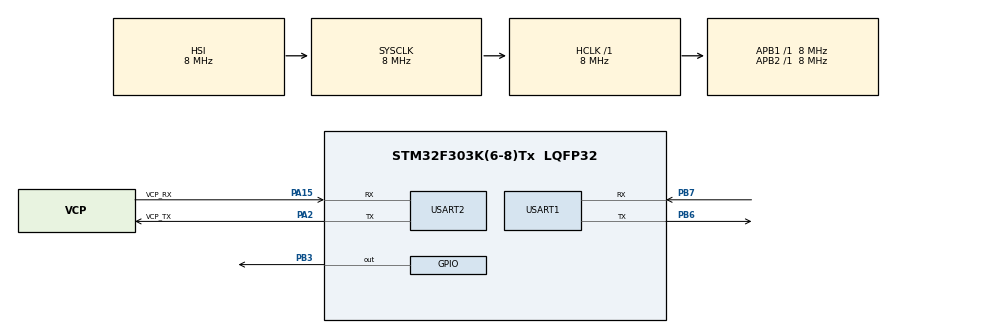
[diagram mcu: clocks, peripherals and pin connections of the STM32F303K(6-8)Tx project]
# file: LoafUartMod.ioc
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Dma.Request0=USART1_RX
Dma.USART1_RX.0.Direction=DMA_PERIPH_TO_MEMORY
Dma.USART1_RX.0.Instance=DMA1_Channel5
Dma.USART1_RX.0.MemDataAlignment=DMA_MDATAALIGN_BYTE
Dma.USART1_RX.0.MemInc=DMA_MINC_ENABLE
Dma.USART1_RX.0.Mode=DMA_NORMAL
Dma.USART1_RX.0.PeriphDataAlignment=DMA_PDATAALIGN_BYTE
Dma.USART1_RX.0.PeriphInc=DMA_PINC_DISABLE
Dma.USART1_RX.0.Priority=DMA_PRIORITY_LOW
Mcu.Family=STM32F3
Mcu.Name=STM32F303K(6-8)Tx
Mcu.Package=LQFP32
NVIC.DMA1_Channel5_IRQn=true\:0\:0\:false\:false\:true\:false\:true\:true
NVIC.PriorityGroup=NVIC_PRIORITYGROUP_4
PA13.GPIO_Label=SWDIO
PA13.Mode=Serial_Wire
PA13.Signal=SYS_JTMS-SWDIO
PA14.GPIO_Label=SWCLK
PA14.Mode=Serial_Wire
PA14.Signal=SYS_JTCK-SWCLK
PA15.GPIO_Label=VCP_RX
PA15.Mode=Asynchronous
PA15.Signal=USART2_RX
PA2.GPIO_Label=VCP_TX
PA2.Mode=Asynchronous
PA2.Signal=USART2_TX
PB3.Signal=GPIO_Output
PB6.Mode=Asynchronous
PB6.Signal=USART1_TX
PB7.Mode=Asynchronous
PB7.Signal=USART1_RX
PF0\ /\ OSC_IN.GPIO_Label=MCO
PF0\ /\ OSC_IN.Mode=HSE-External-Clock-Source
PF0\ /\ OSC_IN.Signal=RCC_OSC_IN
ProjectManager.HeapSize=0x200
ProjectManager.StackSize=0x400
ProjectManager.TargetToolchain=STM32CubeIDE
RCC.AHBFreq_Value=8000000
RCC.APB1Freq_Value=8000000
RCC.APB2Freq_Value=8000000
RCC.CortexFreq_Value=8000000
RCC.HSE_VALUE=8000000
RCC.HSI_VALUE=8000000
RCC.SYSCLKFreq_VALUE=8000000
USART1.SwapParam=ADVFEATURE_SWAP_ENABLE
USART1.VirtualMode-Asynchronous=VM_ASYNC
USART2.VirtualMode-Asynchronous=VM_ASYNC
board=NUCLEO-F303K8

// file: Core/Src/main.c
/* USER CODE BEGIN Header */
/**
  ******************************************************************************
  * @file           : main.c
  * @brief          : Main program body
  ******************************************************************************
  * @attention
  *
  * Copyright (c) 2026 STMicroelectronics.
  * All rights reserved.
  *
  * This software is licensed under terms that can be found in the LICENSE file
  * in the root directory of this software component.
  * If no LICENSE file comes with this software, it is provided AS-IS.
  *
  ******************************************************************************
  */
/* USER CODE END Header */
#include "main.h"

/* USER CODE BEGIN Includes */
#include <string.h>
#include <stdbool.h>
#include <stdio.h>
/* USER CODE END Includes */

UART_HandleTypeDef huart1;
UART_HandleTypeDef huart2;
DMA_HandleTypeDef hdma_usart1_rx;

/* USER CODE BEGIN PV */
#define MY_SLOT_ID 0x01
#define RX_BUFFER_SIZE 1024
char rxBuffer[RX_BUFFER_SIZE];

typedef enum {
  SENSE = 0X01,
  ACTUATE = 0X02,
  OPTICS = 0X03,
  POWER = 0X04,
} SliceID;
SliceID activeSlice = SENSE;

const int POLL_CYCLE_COOLDOWN = 1000; // Time in milliseconds between each poll cycle to prevent spamming the loaf with requests
const int EXPORT_CYCLE_COOLDOWN = 3000; // Time in milliseconds between each export cycle to prevent spamming the loaf with exports

double S_temperature = 0.0;

typedef struct {
  SliceID owner;
  char varName[32];
  double valueNum;
  char valueStr[32];
  int tick;
} ImportedVariable;
ImportedVariable importedVariables[32] = {0}; // Array to hold imported variables from slices, with a max of 32 variables for simplicity
/* USER CODE END PV */

void SystemClock_Config(void);
static void MX_GPIO_Init(void);
static void MX_DMA_Init(void);
static void MX_USART1_UART_Init(void);
static void MX_USART2_UART_Init(void);

/* USER CODE BEGIN 0 */
bool processCommand(const char* command)
{
  double value = 0.0;
  char varName[32] = {0};
  char valueStr[32] = {0};
  bool isString = false;

  if (sscanf(command, "%[^:]:\"%[^\"]\"", &varName, &valueStr) == 2) // Check for string value
  {
	  isString = true;
  }
  else if (sscanf(command, "%[^:]:%lf", &varName, &value) == 2) // Check for numeric value
  {
	  isString = false;
  }

  for (int i = 0; i < 32; i++)
  {
      if (importedVariables[i].owner == 0) // Empty slot
      {
          importedVariables[i].owner = activeSlice;
          strncpy(importedVariables[i].varName, varName, sizeof(importedVariables[i].varName) - 1);
          importedVariables[i].valueNum = value;
          strncpy(importedVariables[i].valueStr, valueStr, sizeof(importedVariables[i].valueStr) - 1);
          importedVariables[i].tick = HAL_GetTick();
          break;
      }
      else if (strcmp(importedVariables[i].varName, varName) == 0) // Update existing variable
      {
          importedVariables[i].valueNum = value;
          strncpy(importedVariables[i].valueStr, valueStr, sizeof(importedVariables[i].valueStr) - 1);
          importedVariables[i].tick = HAL_GetTick();
          break;
      }
  }

  // You can add more handling for string values here
  // For demonstration, toggle LED and print info (if printf available)
  HAL_GPIO_TogglePin(GPIOB, GPIO_PIN_3); // Toggle an LED to indicate command processing
  // Debug print (optional):
  // printf("Var: %s, Value: %f, Str: %s, isString: %d\n", varName, value, valueStr, isString);
  return true;
}

void parseUARTBuffer(char *buffer, size_t len)
{
  char cmd[RX_BUFFER_SIZE];
  size_t cmdIndex = 0;
  bool inCommand = false;

  for (size_t i = 0; i < len; i++)
  {
      char c = buffer[i];

      if (c == '>')
      {
          // If we were already building a command, finalize it
          if (inCommand && cmdIndex > 0)
          {
              cmd[cmdIndex] = '\0';
              processCommand(cmd);
              cmdIndex = 0;
          }

          // Start a new command
          inCommand = true;
          buffer[i] = '\0'; // Clear processed command
      }
      else if (c == '\n')
      {
          // End of packet — flush any active command
          if (inCommand && cmdIndex > 0)
          {
              cmd[cmdIndex] = '\0';
              processCommand(cmd);
          }

          // Reset state
          inCommand = false;
          cmdIndex = 0;
          buffer[i] = '\0'; // Clear processed command
      }
      else if (inCommand)
      {
          // Accumulate command characters safely
          if (cmdIndex < (RX_BUFFER_SIZE - 1))
          {
              cmd[cmdIndex++] = c;
              buffer[i] = '\0'; // Clear processed command
          }
          else
          {
              // Overflow protection: discard oversized command
              cmdIndex = 0;
              inCommand = false;
          }
      }
  }
}

void HAL_UART_RxCpltCallback(UART_HandleTypeDef *huart) {
  if (huart->Instance == USART1) {
      // Process the received data in rxBuffer
      // Restart DMA reception
      HAL_UART_Receive_DMA(&huart1, (uint8_t *)rxBuffer, RX_BUFFER_SIZE);
  }
}

void requestFromSlice(uint8_t sliceID)
{
  uint8_t rqstPacket[] = {0x99, sliceID}; // First byte is 0x99 to indicate a request, second byte is the slice ID
  activeSlice = sliceID;
  HAL_UART_Transmit(&huart1, (uint8_t *)rqstPacket, sizeof(rqstPacket), 1000);
  HAL_Delay(100); // Short delay to allow slice time to respond before sending another request
}
/* USER CODE END 0 */

int main(void)
{

  /* MCU Configuration--------------------------------------------------------*/

  /* Reset of all peripherals, Initializes the Flash interface and the Systick. */
  HAL_Init();

  /* Configure the system clock */
  SystemClock_Config();

  /* Initialize all configured peripherals */
  MX_GPIO_Init();
  MX_DMA_Init();
  MX_USART1_UART_Init();
  MX_USART2_UART_Init();
  /* USER CODE BEGIN 2 */
  HAL_UART_Receive_DMA(&huart1, (uint8_t *)rxBuffer, RX_BUFFER_SIZE);

  int lastPollCycle = 0;
  int lastExportCycle = 0;
  /* USER CODE END 2 */

  /* Infinite loop */
  /* USER CODE BEGIN WHILE */
  while (1)
  {

    if (HAL_GetTick() - lastPollCycle > POLL_CYCLE_COOLDOWN)
    {
        lastPollCycle = HAL_GetTick();
        requestFromSlice(SENSE);
        requestFromSlice(ACTUATE);
        requestFromSlice(OPTICS);
        requestFromSlice(POWER);
    }

    if (HAL_GetTick() - lastExportCycle > EXPORT_CYCLE_COOLDOWN)
    {
        lastExportCycle = HAL_GetTick();
        for (int i = 0; i < 32; i++)
        {
          if (importedVariables[i].owner != 0) // If slot is occupied
          {
            char exportPacket[64];
            if (importedVariables[i].valueStr[0] != '\0') {
              // Export as string
              snprintf(exportPacket, sizeof(exportPacket), ">%s:\"%s\"\n", importedVariables[i].varName, importedVariables[i].valueStr);
            } else {
              // Export as number
              snprintf(exportPacket, sizeof(exportPacket), ">%s:%.2f\n", importedVariables[i].varName, importedVariables[i].valueNum);
            }
            HAL_UART_Transmit(&huart2, (uint8_t *)exportPacket, strlen(exportPacket), HAL_MAX_DELAY);
            HAL_Delay(1);
          }
        }
    }

    parseUARTBuffer(rxBuffer, RX_BUFFER_SIZE);

    HAL_Delay(5);
    /* USER CODE END WHILE */

  }
}

void SystemClock_Config(void)
{
  RCC_OscInitTypeDef RCC_OscInitStruct = {0};
  RCC_ClkInitTypeDef RCC_ClkInitStruct = {0};
  RCC_PeriphCLKInitTypeDef PeriphClkInit = {0};

  /** Initializes the RCC Oscillators according to the specified parameters
  * in the RCC_OscInitTypeDef structure.
  */
  RCC_OscInitStruct.OscillatorType = RCC_OSCILLATORTYPE_HSI;
  RCC_OscInitStruct.HSIState = RCC_HSI_ON;
  RCC_OscInitStruct.HSICalibrationValue = RCC_HSICALIBRATION_DEFAULT;
  RCC_OscInitStruct.PLL.PLLState = RCC_PLL_NONE;
  if (HAL_RCC_OscConfig(&RCC_OscInitStruct) != HAL_OK)
  {
    Error_Handler();
  }

  /** Initializes the CPU, AHB and APB buses clocks
  */
  RCC_ClkInitStruct.ClockType = RCC_CLOCKTYPE_HCLK|RCC_CLOCKTYPE_SYSCLK
                              |RCC_CLOCKTYPE_PCLK1|RCC_CLOCKTYPE_PCLK2;
  RCC_ClkInitStruct.SYSCLKSource = RCC_SYSCLKSOURCE_HSI;
  RCC_ClkInitStruct.AHBCLKDivider = RCC_SYSCLK_DIV1;
  RCC_ClkInitStruct.APB1CLKDivider = RCC_HCLK_DIV1;
  RCC_ClkInitStruct.APB2CLKDivider = RCC_HCLK_DIV1;

  if (HAL_RCC_ClockConfig(&RCC_ClkInitStruct, FLASH_LATENCY_0) != HAL_OK)
  {
    Error_Handler();
  }
  PeriphClkInit.PeriphClockSelection = RCC_PERIPHCLK_USART1;
  PeriphClkInit.Usart1ClockSelection = RCC_USART1CLKSOURCE_PCLK1;
  if (HAL_RCCEx_PeriphCLKConfig(&PeriphClkInit) != HAL_OK)
  {
    Error_Handler();
  }
}

static void MX_USART1_UART_Init(void)
{

  huart1.Instance = USART1;
  huart1.Init.BaudRate = 38400;
  huart1.Init.WordLength = UART_WORDLENGTH_8B;
  huart1.Init.StopBits = UART_STOPBITS_1;
  huart1.Init.Parity = UART_PARITY_NONE;
  huart1.Init.Mode = UART_MODE_TX_RX;
  huart1.Init.HwFlowCtl = UART_HWCONTROL_NONE;
  huart1.Init.OverSampling = UART_OVERSAMPLING_16;
  huart1.Init.OneBitSampling = UART_ONE_BIT_SAMPLE_DISABLE;
  huart1.AdvancedInit.AdvFeatureInit = UART_ADVFEATURE_SWAP_INIT;
  huart1.AdvancedInit.Swap = UART_ADVFEATURE_SWAP_ENABLE;
  if (HAL_UART_Init(&huart1) != HAL_OK)
  {
    Error_Handler();
  }

}

static void MX_USART2_UART_Init(void)
{

  huart2.Instance = USART2;
  huart2.Init.BaudRate = 38400;
  huart2.Init.WordLength = UART_WORDLENGTH_8B;
  huart2.Init.StopBits = UART_STOPBITS_1;
  huart2.Init.Parity = UART_PARITY_NONE;
  huart2.Init.Mode = UART_MODE_TX_RX;
  huart2.Init.HwFlowCtl = UART_HWCONTROL_NONE;
  huart2.Init.OverSampling = UART_OVERSAMPLING_16;
  huart2.Init.OneBitSampling = UART_ONE_BIT_SAMPLE_DISABLE;
  huart2.AdvancedInit.AdvFeatureInit = UART_ADVFEATURE_NO_INIT;
  if (HAL_UART_Init(&huart2) != HAL_OK)
  {
    Error_Handler();
  }

}

static void MX_DMA_Init(void)
{

  /* DMA controller clock enable */
  __HAL_RCC_DMA1_CLK_ENABLE();

  /* DMA interrupt init */
  /* DMA1_Channel5_IRQn interrupt configuration */
  HAL_NVIC_SetPriority(DMA1_Channel5_IRQn, 0, 0);
  HAL_NVIC_EnableIRQ(DMA1_Channel5_IRQn);

}

static void MX_GPIO_Init(void)
{
  GPIO_InitTypeDef GPIO_InitStruct = {0};

  /* GPIO Ports Clock Enable */
  __HAL_RCC_GPIOF_CLK_ENABLE();
  __HAL_RCC_GPIOA_CLK_ENABLE();
  __HAL_RCC_GPIOB_CLK_ENABLE();

  /*Configure GPIO pin Output Level */
  HAL_GPIO_WritePin(GPIOB, GPIO_PIN_3, GPIO_PIN_RESET);

  /*Configure GPIO pin : PB3 */
  GPIO_InitStruct.Pin = GPIO_PIN_3;
  GPIO_InitStruct.Mode = GPIO_MODE_OUTPUT_PP;
  GPIO_InitStruct.Pull = GPIO_NOPULL;
  GPIO_InitStruct.Speed = GPIO_SPEED_FREQ_LOW;
  HAL_GPIO_Init(GPIOB, &GPIO_InitStruct);

}

void Error_Handler(void)
{
  __disable_irq();
  while (1)
  {
  }
}
